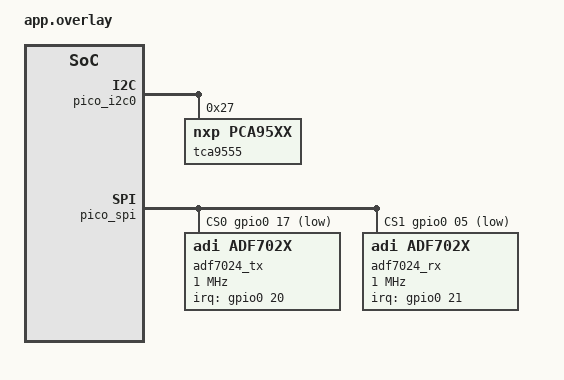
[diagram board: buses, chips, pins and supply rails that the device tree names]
/*
 * Copyright (c) 2024 Liam Beguin <liambeguin@gmail.com>
 *
 * SPDX-License-Identifier: Apache-2.0
 */

/ {
	chosen {
		zephyr,ieee802154 = &adf7024_tx;
		zephyr,ieee802154_tx = &adf7024_tx;
		zephyr,ieee802154_rx = &adf7024_rx;
	};
};

&pinctrl {
	i2c0_default: i2c0_default {
		group1 {
			pinmux = <I2C0_SDA_P8>, <I2C0_SCL_P9>;
			input-enable;
			input-schmitt-enable;
		};
	};
};

&pico_i2c0 {
	tca9555@27 {
		compatible = "nxp,pca95xx";
		reg = <0x27>;
		gpio-controller;
		#gpio-cells = <2>;
	};
};

&pico_spi {
	status = "okay";
	cs-gpios = <&gpio0 17 GPIO_ACTIVE_LOW>,
		   <&gpio0 05 GPIO_ACTIVE_LOW>;

	/* ADF7024DB1Z_nCS RX */
	adf7024_tx: ieee802144@0 {
		status = "okay";
		compatible = "adi,adf702x";
		reg = <0>;
		spi-max-frequency = <1000000>;

		channel-frequency = <869100000>;

		irq-gpios = <&gpio0 20 GPIO_ACTIVE_HIGH>;
	};

	/* ADF7024DB3Z_nCS TX */
	adf7024_rx: ieee802144@1 {
		status = "okay";
		compatible = "adi,adf702x";
		reg = <1>;
		spi-max-frequency = <1000000>;

		channel-frequency = <432100000>;

		irq-gpios = <&gpio0 21 GPIO_ACTIVE_HIGH>;
	};
};
